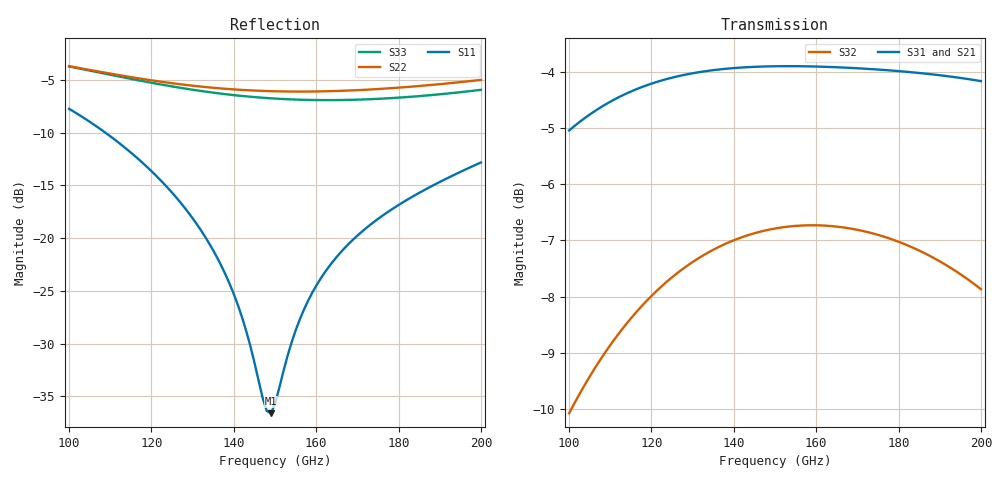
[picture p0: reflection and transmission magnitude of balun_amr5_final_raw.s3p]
#  GHZ S DB R 50.0
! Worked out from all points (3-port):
!   101 points, 100 GHz to 200 GHz, reference 50 ohm
!   strongest paths, dB at 100 GHz, 125 GHz, 150 GHz, 175 GHz, 200 GHz:
!     S31: -5.0, -4.1, -3.9, -4.0, -4.2
!     S21: -4.8, -4.0, -4.0, -4.2, -4.6
!     S32: -10.1, -7.7, -6.8, -6.9, -7.9
!   lowest |S11| = -36.6 dB at 149 GHz (marker M1), VSWR 1.03, Z = 51.3 - j0.751 ohm
!   |S11| at or under -10 dB: 108.8 GHz to end of sweep
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100  -7.74 125.1  -4.83 -11.7  -5.04 164.9
     -4.83 -11.7  -3.70 59.1  -10.08 90.2
     -5.04 164.9  -10.08 90.2  -3.72 49.9
118  -12.92 96.9  -4.15 -39.4  -4.26 135.7
     -4.15 -39.4  -4.92 43.2  -8.14 63.7
     -4.26 135.7  -8.14 63.7  -5.12 31.7
132  -19.25 75.9  -3.96 -59.2  -4.00 114.9
     -3.96 -59.2  -5.63 32.9  -7.29 44.5
     -4.00 114.9  -7.29 44.5  -6.05 19.9
140  -25.31 59.7  -3.94 -69.8  -3.93 103.6
     -3.94 -69.8  -5.90 27.5  -7.00 34.0
     -3.93 103.6  -7.00 34.0  -6.44 13.9
149  -36.61 -29.7  -3.96 -81.4  -3.90 91.3
     -3.96 -81.4  -6.07 21.4  -6.80 22.7
     -3.90 91.3  -6.80 22.7  -6.74 7.4
150  -35.72 -50.0  -3.96 -82.6  -3.90 90.0
     -3.96 -82.6  -6.08 20.7  -6.79 21.4
     -3.90 90.0  -6.79 21.4  -6.77 6.7
156  -27.73 -97.5  -4.00 -90.1  -3.90 82.1
     -4.00 -90.1  -6.10 16.6  -6.74 14.0
     -3.90 82.1  -6.74 14.0  -6.87 2.4
165  -21.77 -114.4  -4.07 -101.1  -3.91 70.4
     -4.07 -101.1  -6.05 10.1  -6.75 3.2
     -3.91 70.4  -6.75 3.2  -6.91 -4.2
178  -17.37 -126.7  -4.21 -116.8  -3.97 53.8
     -4.21 -116.8  -5.79 -0.0  -6.97 -12.4
     -3.97 53.8  -6.97 -12.4  -6.73 -14.2
200  -12.83 -142.7  -4.59 -143.6  -4.16 25.5
     -4.59 -143.6  -5.00 -19.6  -7.87 -38.9
     -4.16 25.5  -7.87 -38.9  -5.94 -33.6
